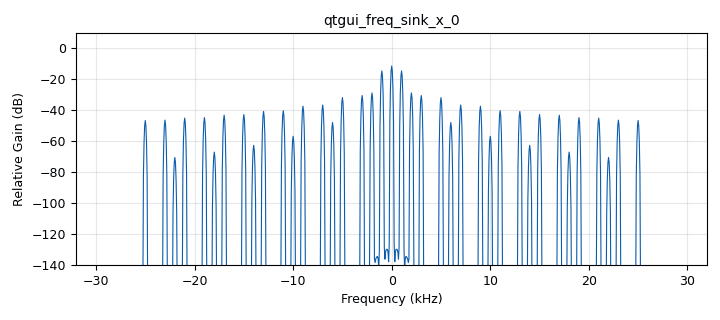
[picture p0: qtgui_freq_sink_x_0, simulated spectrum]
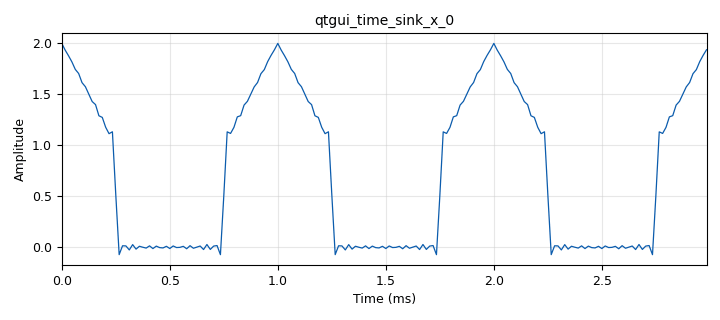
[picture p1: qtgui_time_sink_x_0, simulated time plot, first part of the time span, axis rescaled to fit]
options:
  parameters:
    generate_options: qt_gui
    id: triangolare4
    output_language: python
    title: Not titled yet
  states: {}

blocks:
- name: samp_rate
  id: variable
  parameters:
    value: '64000'
  states: {}
- name: analog_sig_source_x_0
  id: analog_sig_source_x
  parameters:
    amp: '0.75'
    freq: '0'
    offset: '0'
    phase: '0'
    samp_rate: samp_rate
    type: float
    waveform: analog.GR_CONST_WAVE
  states: {}
- name: analog_sig_source_x_1
  id: analog_sig_source_x
  parameters:
    amp: '1.0419'
    freq: '1000'
    offset: '0'
    phase: '0'
    samp_rate: samp_rate
    type: float
    waveform: analog.GR_COS_WAVE
  states: {}
- name: analog_sig_source_x_1_0
  id: analog_sig_source_x
  parameters:
    amp: '0.2026'
    freq: '2000'
    offset: '0'
    phase: '0'
    samp_rate: samp_rate
    type: float
    waveform: analog.GR_COS_WAVE
  states: {}
- name: analog_sig_source_x_1_1
  id: analog_sig_source_x
  parameters:
    amp: '0.167174'
    freq: '3000'
    offset: '0'
    phase: '3.14'
    samp_rate: samp_rate
    type: float
    waveform: analog.GR_COS_WAVE
  states: {}
- name: analog_sig_source_x_1_2
  id: analog_sig_source_x
  parameters:
    amp: '0.1435'
    freq: '5000'
    offset: '0'
    phase: '0'
    samp_rate: samp_rate
    type: float
    waveform: analog.GR_COS_WAVE
  states: {}
- name: analog_sig_source_x_1_3
  id: analog_sig_source_x
  parameters:
    amp: '0.02251'
    freq: '6000'
    offset: '0'
    phase: '0'
    samp_rate: samp_rate
    type: float
    waveform: analog.GR_COS_WAVE
  states: {}
- name: analog_sig_source_x_1_4
  id: analog_sig_source_x
  parameters:
    amp: '0.0826'
    freq: '7000'
    offset: '0'
    phase: '3.14'
    samp_rate: samp_rate
    type: float
    waveform: analog.GR_COS_WAVE
  states: {}
- name: analog_sig_source_x_1_5
  id: analog_sig_source_x
  parameters:
    amp: '0.0757'
    freq: '9000'
    offset: '0'
    phase: '0'
    samp_rate: samp_rate
    type: float
    waveform: analog.GR_COS_WAVE
  states: {}
- name: analog_sig_source_x_1_6
  id: analog_sig_source_x
  parameters:
    amp: '0.008105'
    freq: '10000'
    offset: '0'
    phase: '0'
    samp_rate: samp_rate
    type: float
    waveform: analog.GR_COS_WAVE
  states: {}
- name: analog_sig_source_x_1_7
  id: analog_sig_source_x
  parameters:
    amp: '0.05452'
    freq: '11000'
    offset: '0'
    phase: '3.14'
    samp_rate: samp_rate
    type: float
    waveform: analog.GR_COS_WAVE
  states: {}
- name: analog_sig_source_x_1_8
  id: analog_sig_source_x
  parameters:
    amp: '0.05136'
    freq: '13000'
    offset: '0'
    phase: '0'
    samp_rate: samp_rate
    type: float
    waveform: analog.GR_COS_WAVE
  states: {}
- name: analog_sig_source_x_1_9
  id: analog_sig_source_x
  parameters:
    amp: '0.004135'
    freq: '14000'
    offset: '0'
    phase: '0'
    samp_rate: samp_rate
    type: float
    waveform: analog.GR_COS_WAVE
  states: {}
- name: analog_sig_source_x_1_9_0
  id: analog_sig_source_x
  parameters:
    amp: '0.04064'
    freq: '15000'
    offset: '0'
    phase: '3.14'
    samp_rate: samp_rate
    type: float
    waveform: analog.GR_COS_WAVE
  states: {}
- name: analog_sig_source_x_1_9_1
  id: analog_sig_source_x
  parameters:
    amp: '0.038850'
    freq: '17000'
    offset: '0'
    phase: '0'
    samp_rate: samp_rate
    type: float
    waveform: analog.GR_COS_WAVE
  states: {}
- name: analog_sig_source_x_1_9_2
  id: analog_sig_source_x
  parameters:
    amp: '0.002501'
    freq: '18000'
    offset: '0'
    phase: '0'
    samp_rate: samp_rate
    type: float
    waveform: analog.GR_COS_WAVE
  states: {}
- name: analog_sig_source_x_1_9_3
  id: analog_sig_source_x
  parameters:
    amp: '0.03238'
    freq: '19000'
    offset: '0'
    phase: '3.14'
    samp_rate: samp_rate
    type: float
    waveform: analog.GR_COS_WAVE
  states: {}
- name: analog_sig_source_x_1_9_4
  id: analog_sig_source_x
  parameters:
    amp: '0.03123'
    freq: '21000'
    offset: '0'
    phase: '0'
    samp_rate: samp_rate
    type: float
    waveform: analog.GR_COS_WAVE
  states: {}
- name: analog_sig_source_x_1_9_5
  id: analog_sig_source_x
  parameters:
    amp: '0.001674'
    freq: '22000'
    offset: '0'
    phase: '0'
    samp_rate: samp_rate
    type: float
    waveform: analog.GR_COS_WAVE
  states: {}
- name: analog_sig_source_x_1_9_6
  id: analog_sig_source_x
  parameters:
    amp: '0.026912'
    freq: '23000'
    offset: '0'
    phase: '3.14'
    samp_rate: samp_rate
    type: float
    waveform: analog.GR_COS_WAVE
  states: {}
- name: analog_sig_source_x_1_9_7
  id: analog_sig_source_x
  parameters:
    amp: '0.02611'
    freq: '25000'
    offset: '0'
    phase: '0'
    samp_rate: samp_rate
    type: float
    waveform: analog.GR_COS_WAVE
  states: {}
- name: blocks_add_xx_0
  id: blocks_add_xx
  parameters:
    num_inputs: '20'
    type: float
  states: {}
- name: blocks_throttle_0
  id: blocks_throttle
  parameters:
    samples_per_second: samp_rate
    type: float
  states: {}
- name: qtgui_freq_sink_x_0
  id: qtgui_freq_sink_x
  parameters:
    bw: samp_rate
    fc: '0'
    fftsize: '1024'
    type: float
  states: {}
- name: qtgui_time_sink_x_0
  id: qtgui_time_sink_x
  parameters:
    size: '1024'
    srate: samp_rate
    type: float
  states: {}

connections:
- [analog_sig_source_x_0, '0', blocks_add_xx_0, '0']
- [analog_sig_source_x_1, '0', blocks_add_xx_0, '1']
- [analog_sig_source_x_1_0, '0', blocks_add_xx_0, '2']
- [analog_sig_source_x_1_1, '0', blocks_add_xx_0, '3']
- [analog_sig_source_x_1_2, '0', blocks_add_xx_0, '4']
- [analog_sig_source_x_1_3, '0', blocks_add_xx_0, '5']
- [analog_sig_source_x_1_4, '0', blocks_add_xx_0, '6']
- [analog_sig_source_x_1_5, '0', blocks_add_xx_0, '7']
- [analog_sig_source_x_1_6, '0', blocks_add_xx_0, '8']
- [analog_sig_source_x_1_7, '0', blocks_add_xx_0, '9']
- [analog_sig_source_x_1_8, '0', blocks_add_xx_0, '10']
- [analog_sig_source_x_1_9, '0', blocks_add_xx_0, '11']
- [analog_sig_source_x_1_9_0, '0', blocks_add_xx_0, '12']
- [analog_sig_source_x_1_9_1, '0', blocks_add_xx_0, '13']
- [analog_sig_source_x_1_9_2, '0', blocks_add_xx_0, '14']
- [analog_sig_source_x_1_9_3, '0', blocks_add_xx_0, '15']
- [analog_sig_source_x_1_9_4, '0', blocks_add_xx_0, '16']
- [analog_sig_source_x_1_9_5, '0', blocks_add_xx_0, '17']
- [analog_sig_source_x_1_9_6, '0', blocks_add_xx_0, '18']
- [analog_sig_source_x_1_9_7, '0', blocks_add_xx_0, '19']
- [blocks_add_xx_0, '0', blocks_throttle_0, '0']
- [blocks_throttle_0, '0', qtgui_freq_sink_x_0, '0']
- [blocks_throttle_0, '0', qtgui_time_sink_x_0, '0']

metadata:
  file_format: 1
  grc_version: 3.10.5.1
